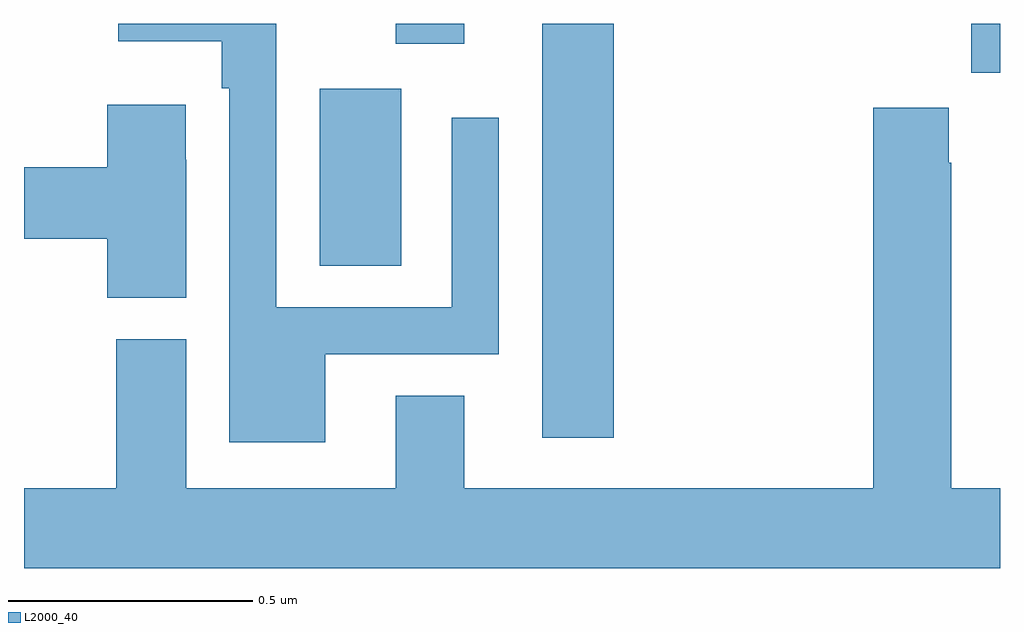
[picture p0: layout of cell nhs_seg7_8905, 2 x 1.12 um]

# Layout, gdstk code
import gdstk
lib = gdstk.Library(unit=1e-6, precision=1e-09)
def R(c, l, rs):  # rectangles x0, y0, x1, y1
    for r in rs: c.add(gdstk.rectangle(r[:2], r[2:], *l))
def P(c, l, *ps):  # polygons
    for p in ps: c.add(gdstk.Polygon(p, *l))
L2000_40 = (2000, 40)

nhs_seg7_8905 = lib.new_cell('nhs_seg7_8905')
R(nhs_seg7_8905, L2000_40, [(231.062,1066.152,231.209,1067), (230.606,1066.504,230.773,1066.867), (231.941,1066.899,232,1067), (230.762,1066.959,230.902,1067)])
P(nhs_seg7_8905, L2000_40, [(230.617,1066.323),(230.973,1066.323),(230.973,1066.807),(230.877,1066.807),(230.877,1066.419),(230.517,1066.419),(230.517,1067),(230.193,1067),(230.193,1066.964),(230.405,1066.964),(230.405,1066.868),(230.421,1066.868),(230.421,1066.142),(230.617,1066.142)],
  [(230.332,1066.721),(230.331,1066.721),(230.331,1066.834),(230.171,1066.834),(230.171,1066.706),(230,1066.706),(230,1066.559),(230.171,1066.559),(230.171,1066.438),(230.332,1066.438)],
  [(232,1066.048),(231.9,1066.048),(231.9,1066.715),(231.895,1066.715),(231.895,1066.828),(231.74,1066.828),(231.74,1066.048),(230.902,1066.048),(230.902,1066.238),(230.762,1066.238),(230.762,1066.048),(230.332,1066.048),(230.332,1066.353),(230.189,1066.353),(230.189,1066.048),(230,1066.048),(230,1065.884),(232,1065.884)])

lib.write_gds('nhs_seg7_8905.gds')
